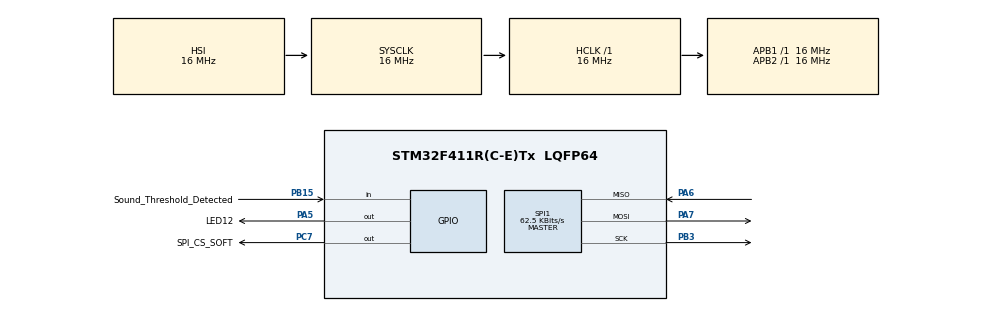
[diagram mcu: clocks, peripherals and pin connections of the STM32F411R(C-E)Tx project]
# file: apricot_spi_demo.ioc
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Mcu.Family=STM32F4
Mcu.Name=STM32F411R(C-E)Tx
Mcu.Package=LQFP64
NVIC.PriorityGroup=NVIC_PRIORITYGROUP_4
PA13.Mode=Serial_Wire
PA13.Signal=SYS_JTMS-SWDIO
PA14.Mode=Serial_Wire
PA14.Signal=SYS_JTCK-SWCLK
PA5.GPIO_Label=LED12
PA5.Signal=GPIO_Output
PA6.Mode=Full_Duplex_Master
PA6.Signal=SPI1_MISO
PA7.Mode=Full_Duplex_Master
PA7.Signal=SPI1_MOSI
PB15.GPIO_Label=Sound_Threshold_Detected
PB15.Signal=GPIO_Input
PB3.Mode=Full_Duplex_Master
PB3.Signal=SPI1_SCK
PC7.GPIO_Label=SPI_CS_SOFT
PC7.Signal=GPIO_Output
PH0\ -\ OSC_IN.Mode=HSE-External-Oscillator
PH0\ -\ OSC_IN.Signal=RCC_OSC_IN
PH1\ -\ OSC_OUT.Mode=HSE-External-Oscillator
PH1\ -\ OSC_OUT.Signal=RCC_OSC_OUT
ProjectManager.HeapSize=0x200
ProjectManager.StackSize=0x400
ProjectManager.TargetToolchain=MDK-ARM V5
RCC.AHBFreq_Value=16000000
RCC.APB1Freq_Value=16000000
RCC.APB2Freq_Value=16000000
RCC.CortexFreq_Value=16000000
RCC.HSE_VALUE=25000000
RCC.HSI_VALUE=16000000
RCC.LSE_VALUE=32768
RCC.SYSCLKFreq_VALUE=16000000
RCC.VCOOutputFreq_Value=192000000
SPI1.BaudRatePrescaler=SPI_BAUDRATEPRESCALER_256
SPI1.CalculateBaudRate=62.5 KBits/s
SPI1.Direction=SPI_DIRECTION_2LINES
SPI1.Mode=SPI_MODE_MASTER
SPI1.VirtualType=VM_MASTER
board=apricot_spi_demo

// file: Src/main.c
/**
  ******************************************************************************
  * File Name          : main.c
  * Description        : Main program body
  ******************************************************************************
  ** This notice applies to any and all portions of this file
  * that are not between comment pairs USER CODE BEGIN and
  * USER CODE END. Other portions of this file, whether
  * inserted by the user or by software development tools
  * are owned by their respective copyright owners.
  *
  * COPYRIGHT(c) 2017 STMicroelectronics
  *
  * Redistribution and use in source and binary forms, with or without modification,
  * are permitted provided that the following conditions are met:
  *   1. Redistributions of source code must retain the above copyright notice,
  *      this list of conditions and the following disclaimer.
  *   2. Redistributions in binary form must reproduce the above copyright notice,
  *      this list of conditions and the following disclaimer in the documentation
  *      and/or other materials provided with the distribution.
  *   3. Neither the name of STMicroelectronics nor the names of its contributors
  *      may be used to endorse or promote products derived from this software
  *      without specific prior written permission.
  *
  * THIS SOFTWARE IS PROVIDED BY THE COPYRIGHT HOLDERS AND CONTRIBUTORS "AS IS"
  * AND ANY EXPRESS OR IMPLIED WARRANTIES, INCLUDING, BUT NOT LIMITED TO, THE
  * IMPLIED WARRANTIES OF MERCHANTABILITY AND FITNESS FOR A PARTICULAR PURPOSE ARE
  * DISCLAIMED. IN NO EVENT SHALL THE COPYRIGHT HOLDER OR CONTRIBUTORS BE LIABLE
  * FOR ANY DIRECT, INDIRECT, INCIDENTAL, SPECIAL, EXEMPLARY, OR CONSEQUENTIAL
  * DAMAGES (INCLUDING, BUT NOT LIMITED TO, PROCUREMENT OF SUBSTITUTE GOODS OR
  * SERVICES; LOSS OF USE, DATA, OR PROFITS; OR BUSINESS INTERRUPTION) HOWEVER
  * CAUSED AND ON ANY THEORY OF LIABILITY, WHETHER IN CONTRACT, STRICT LIABILITY,
  * OR TORT (INCLUDING NEGLIGENCE OR OTHERWISE) ARISING IN ANY WAY OUT OF THE USE
  * OF THIS SOFTWARE, EVEN IF ADVISED OF THE POSSIBILITY OF SUCH DAMAGE.
  *
  ******************************************************************************
  */
#include "main.h"
#include "stm32f4xx_hal.h"

/* USER CODE BEGIN Includes */
#define 	SET_THRESHOLD_DEMO		0
#define 	TOGGLE_DETECTION_DEMO	0
#define 	RECEIVE_THRESHOLD_DEMO	1
#define 	INTERRUPT_LINE_DEMO		0

/* USER CODE END Includes */

SPI_HandleTypeDef hspi1;

/* USER CODE BEGIN PV */
/* Private variables ---------------------------------------------------------*/
// Set the value in the following line to any value from 0x00 to 0xff and watch the threshold change on the n572.
#define SOUND_THRESHOLD	0xd0
static uint8_t sound_threshold = SOUND_THRESHOLD;
uint8_t set_threshold_tx_buf[] = {0x01, SOUND_THRESHOLD};
uint8_t toggle_sound_detection_tx_buf[] = {0x02, 0x01};
uint8_t get_sound_level_tx_buf[] = {0x03, 0x00, 0x00};
uint8_t clear_interrupt_buf[] = {0x04, 0x00};
uint8_t spi_rx_buf[] = {0x00, 0x00, 0x00};

/* USER CODE END PV */

void SystemClock_Config(void);
static void MX_GPIO_Init(void);
static void MX_SPI1_Init(void);

/* USER CODE BEGIN PFP */
/* Private function prototypes -----------------------------------------------*/

/* USER CODE END PFP */

/* USER CODE BEGIN 0 */

void SPI_RxTx(SPI_HandleTypeDef *hspi, uint8_t *pTxData, uint8_t *pRxData, uint16_t Size, uint32_t Timeout) {
	HAL_GPIO_WritePin(SPI_CS_SOFT_GPIO_Port, SPI_CS_SOFT_Pin, GPIO_PIN_RESET);
	HAL_SPI_TransmitReceive(hspi, pTxData, pRxData, Size, Timeout);
	HAL_GPIO_WritePin(SPI_CS_SOFT_GPIO_Port, SPI_CS_SOFT_Pin, GPIO_PIN_SET);
}

/* USER CODE END 0 */

int main(void)
{

  /* MCU Configuration----------------------------------------------------------*/

  /* Reset of all peripherals, Initializes the Flash interface and the Systick. */
  HAL_Init();

  /* Configure the system clock */
  SystemClock_Config();

  /* Initialize all configured peripherals */
  MX_GPIO_Init();
  MX_SPI1_Init();

  /* USER CODE BEGIN 2 */
	toggle_sound_detection_tx_buf[1] = 1;
	SPI_RxTx(&hspi1, toggle_sound_detection_tx_buf, spi_rx_buf, 2, 100);
	HAL_Delay(100);
	set_threshold_tx_buf[1] = 0x20;
	SPI_RxTx(&hspi1, set_threshold_tx_buf, spi_rx_buf, 2, 100);
	HAL_Delay(100);

  /* USER CODE END 2 */

  /* Infinite loop */
	while (1)
	{

  /* USER CODE BEGIN 3 */
		int sound_level;

#if SET_THRESHOLD_DEMO == 1
		set_threshold_tx_buf[1] = SOUND_THRESHOLD;
		SPI_RxTx(&hspi1, set_threshold_tx_buf, spi_rx_buf, 2, 100);
		HAL_Delay(500);

#elif TOGGLE_DETECTION_DEMO == 1
		toggle_sound_detection_tx_buf[1] = 1;
		SPI_RxTx(&hspi1, toggle_sound_detection_tx_buf, spi_rx_buf, 2, 100);
		HAL_Delay(500);
		toggle_sound_detection_tx_buf[1] = 0;
		SPI_RxTx(&hspi1, toggle_sound_detection_tx_buf, spi_rx_buf, 2, 100);
		HAL_Delay(500);

#elif RECEIVE_THRESHOLD_DEMO == 1
		SPI_RxTx(&hspi1, get_sound_level_tx_buf, spi_rx_buf, 3, 100);

		sound_level = (int16_t) (spi_rx_buf[1]<<8) + (int16_t) spi_rx_buf[2];
		if(sound_level>sound_threshold) {
			HAL_GPIO_WritePin(LED12_GPIO_Port, LED12_Pin, GPIO_PIN_SET);
		} else {
			HAL_GPIO_WritePin(LED12_GPIO_Port, LED12_Pin, GPIO_PIN_RESET);
		}
		HAL_Delay(10);

#elif INTERRUPT_LINE_DEMO == 1
		if(HAL_GPIO_ReadPin(Sound_Threshold_Detected_GPIO_Port, Sound_Threshold_Detected_Pin)) {
			HAL_GPIO_WritePin(LED12_GPIO_Port, LED12_Pin, GPIO_PIN_SET);
			HAL_Delay(100);
			SPI_RxTx(&hspi1, clear_interrupt_buf, spi_rx_buf, 2, 100);
			HAL_GPIO_WritePin(LED12_GPIO_Port, LED12_Pin, GPIO_PIN_RESET);
		}
		HAL_Delay(100);
#endif

	}
  /* USER CODE END 3 */

}

/** System Clock Configuration
*/
void SystemClock_Config(void)
{

  RCC_OscInitTypeDef RCC_OscInitStruct;
  RCC_ClkInitTypeDef RCC_ClkInitStruct;

    /**Configure the main internal regulator output voltage
    */
  __HAL_RCC_PWR_CLK_ENABLE();

  __HAL_PWR_VOLTAGESCALING_CONFIG(PWR_REGULATOR_VOLTAGE_SCALE1);

    /**Initializes the CPU, AHB and APB busses clocks
    */
  RCC_OscInitStruct.OscillatorType = RCC_OSCILLATORTYPE_HSI;
  RCC_OscInitStruct.HSIState = RCC_HSI_ON;
  RCC_OscInitStruct.HSICalibrationValue = 16;
  RCC_OscInitStruct.PLL.PLLState = RCC_PLL_NONE;
  if (HAL_RCC_OscConfig(&RCC_OscInitStruct) != HAL_OK)
  {
    _Error_Handler(__FILE__, __LINE__);
  }

    /**Initializes the CPU, AHB and APB busses clocks
    */
  RCC_ClkInitStruct.ClockType = RCC_CLOCKTYPE_HCLK|RCC_CLOCKTYPE_SYSCLK
                              |RCC_CLOCKTYPE_PCLK1|RCC_CLOCKTYPE_PCLK2;
  RCC_ClkInitStruct.SYSCLKSource = RCC_SYSCLKSOURCE_HSI;
  RCC_ClkInitStruct.AHBCLKDivider = RCC_SYSCLK_DIV1;
  RCC_ClkInitStruct.APB1CLKDivider = RCC_HCLK_DIV1;
  RCC_ClkInitStruct.APB2CLKDivider = RCC_HCLK_DIV1;

  if (HAL_RCC_ClockConfig(&RCC_ClkInitStruct, FLASH_LATENCY_0) != HAL_OK)
  {
    _Error_Handler(__FILE__, __LINE__);
  }

    /**Configure the Systick interrupt time
    */
  HAL_SYSTICK_Config(HAL_RCC_GetHCLKFreq()/1000);

    /**Configure the Systick
    */
  HAL_SYSTICK_CLKSourceConfig(SYSTICK_CLKSOURCE_HCLK);

  /* SysTick_IRQn interrupt configuration */
  HAL_NVIC_SetPriority(SysTick_IRQn, 0, 0);
}

/* SPI1 init function */
static void MX_SPI1_Init(void)
{

  hspi1.Instance = SPI1;
  hspi1.Init.Mode = SPI_MODE_MASTER;
  hspi1.Init.Direction = SPI_DIRECTION_2LINES;
  hspi1.Init.DataSize = SPI_DATASIZE_8BIT;
  hspi1.Init.CLKPolarity = SPI_POLARITY_LOW;
  hspi1.Init.CLKPhase = SPI_PHASE_1EDGE;
  hspi1.Init.NSS = SPI_NSS_SOFT;
  hspi1.Init.BaudRatePrescaler = SPI_BAUDRATEPRESCALER_256;
  hspi1.Init.FirstBit = SPI_FIRSTBIT_MSB;
  hspi1.Init.TIMode = SPI_TIMODE_DISABLE;
  hspi1.Init.CRCCalculation = SPI_CRCCALCULATION_DISABLE;
  hspi1.Init.CRCPolynomial = 10;
  if (HAL_SPI_Init(&hspi1) != HAL_OK)
  {
    _Error_Handler(__FILE__, __LINE__);
  }

}

/** Configure pins as
        * Analog
        * Input
        * Output
        * EVENT_OUT
        * EXTI
*/
static void MX_GPIO_Init(void)
{

  GPIO_InitTypeDef GPIO_InitStruct;

  /* GPIO Ports Clock Enable */
  __HAL_RCC_GPIOH_CLK_ENABLE();
  __HAL_RCC_GPIOA_CLK_ENABLE();
  __HAL_RCC_GPIOB_CLK_ENABLE();
  __HAL_RCC_GPIOC_CLK_ENABLE();

  /*Configure GPIO pin Output Level */
  HAL_GPIO_WritePin(LED12_GPIO_Port, LED12_Pin, GPIO_PIN_RESET);

  /*Configure GPIO pin Output Level */
  HAL_GPIO_WritePin(SPI_CS_SOFT_GPIO_Port, SPI_CS_SOFT_Pin, GPIO_PIN_RESET);

  /*Configure GPIO pin : LED12_Pin */
  GPIO_InitStruct.Pin = LED12_Pin;
  GPIO_InitStruct.Mode = GPIO_MODE_OUTPUT_PP;
  GPIO_InitStruct.Pull = GPIO_NOPULL;
  GPIO_InitStruct.Speed = GPIO_SPEED_FREQ_LOW;
  HAL_GPIO_Init(LED12_GPIO_Port, &GPIO_InitStruct);

  /*Configure GPIO pin : Sound_Threshold_Detected_Pin */
  GPIO_InitStruct.Pin = Sound_Threshold_Detected_Pin;
  GPIO_InitStruct.Mode = GPIO_MODE_INPUT;
  GPIO_InitStruct.Pull = GPIO_NOPULL;
  HAL_GPIO_Init(Sound_Threshold_Detected_GPIO_Port, &GPIO_InitStruct);

  /*Configure GPIO pin : SPI_CS_SOFT_Pin */
  GPIO_InitStruct.Pin = SPI_CS_SOFT_Pin;
  GPIO_InitStruct.Mode = GPIO_MODE_OUTPUT_PP;
  GPIO_InitStruct.Pull = GPIO_NOPULL;
  GPIO_InitStruct.Speed = GPIO_SPEED_FREQ_LOW;
  HAL_GPIO_Init(SPI_CS_SOFT_GPIO_Port, &GPIO_InitStruct);

}

void _Error_Handler(char * file, int line)
{
  while(1)
  {
  }
}

/************************ (C) COPYRIGHT STMicroelectronics *****END OF FILE****/
